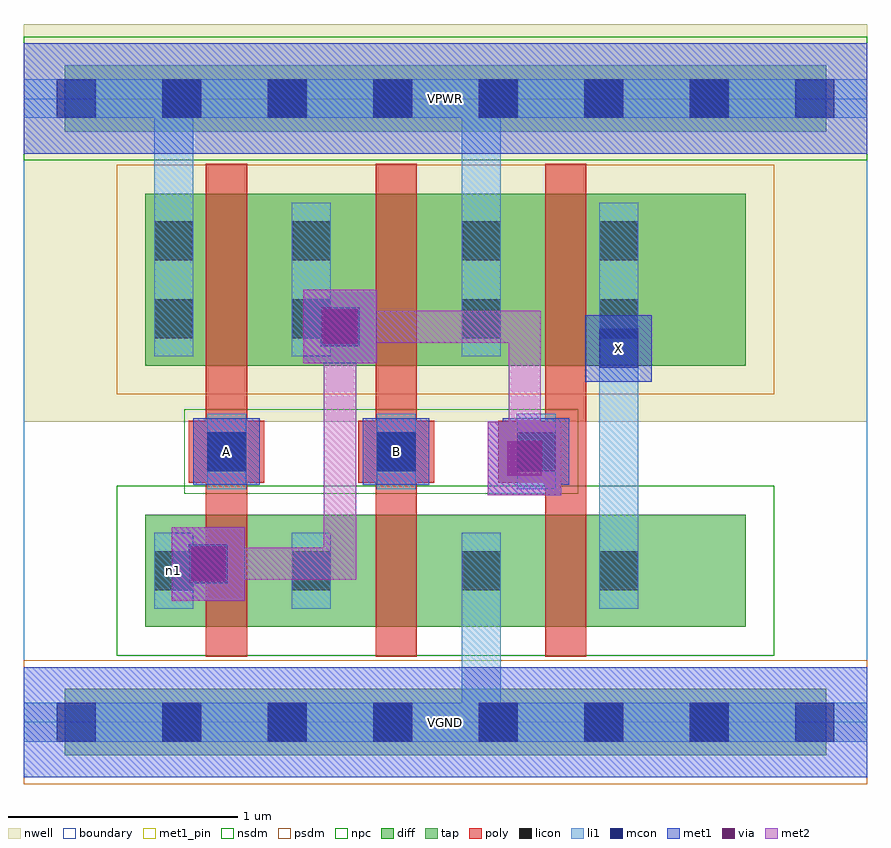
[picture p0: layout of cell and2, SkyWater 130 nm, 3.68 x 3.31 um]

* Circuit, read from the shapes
.subckt and2 A B VGND VPWR X n1
XM1 n2 A n1 VGND sky130_fd_pr__nfet_01v8 w=0.49 l=0.18
XM2 VGND B n2 VGND sky130_fd_pr__nfet_01v8 w=0.49 l=0.18
XM3 X n1 VGND VGND sky130_fd_pr__nfet_01v8 w=0.49 l=0.18
XM4 n1 A VPWR VPWR sky130_fd_pr__pfet_01v8 w=0.75 l=0.18
XM5 VPWR B n1 VPWR sky130_fd_pr__pfet_01v8 w=0.75 l=0.18
XM6 X n1 VPWR VPWR sky130_fd_pr__pfet_01v8 w=0.75 l=0.18
.ends

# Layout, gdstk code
import gdstk
lib = gdstk.Library(unit=1e-6, precision=1e-09)
def R(c, l, rs):  # rectangles x0, y0, x1, y1
    for r in rs: c.add(gdstk.rectangle(r[:2], r[2:], *l))
def A(c, l, x, y, w, h, nx, ny, dx, dy):  # array of equal rectangles
    R(c, l, [(x+i*dx, y+j*dy, x+i*dx+w, y+j*dy+h) for i in range(nx) for j in range(ny)])
nwell = (64, 20)
diff = (65, 20)
tap = (65, 44)
poly = (66, 20)
licon = (66, 44)
li1 = (67, 20)
mcon = (67, 44)
met1_pin = (68, 16)
met1 = (68, 20)
via = (68, 44)
met2 = (69, 20)
nsdm = (93, 44)
psdm = (94, 20)
npc = (95, 20)
boundary = (235, 4)

and2 = lib.new_cell('and2')
R(and2, nwell, [(0,1.31,3.68,3.045)])
R(and2, diff, [(0.53,0.415,3.15,0.905), (0.53,1.555,3.15,2.305)])
R(and2, tap, [(0.18,-0.145,3.5,0.145), (0.18,2.575,3.5,2.865)])
A(and2, poly, 0.795, 0.285, 0.18, 2.15, 3, 1, 0.74, 0)
R(and2, poly, [(0.72,1.045,1.05,1.315), (1.46,1.045,1.79,1.315), (2.07,1.045,2.4,1.315)])
A(and2, licon, 0.605, -0.085, 0.17, 0.17, 6, 2, 0.46, 2.72)
R(and2, licon, [(0.57,0.575,0.74,0.745), (1.17,0.575,1.34,0.745), (1.91,0.575,2.08,0.745), (2.51,0.575,2.68,0.745), (0.8,1.095,0.97,1.265), (1.54,1.095,1.71,1.265), (2.15,1.095,2.32,1.265), (0.57,1.675,0.74,1.845), (1.17,1.675,1.34,1.845), (1.91,1.675,2.08,1.845), (2.51,1.675,2.68,1.845), (0.57,2.015,0.74,2.185), (1.17,2.015,1.34,2.185), (1.91,2.015,2.08,2.185), (2.51,2.015,2.68,2.185)])
R(and2, li1, [(0,-0.085,3.68,0.085), (1.91,-0.085,2.08,0.825), (0.57,0.495,0.74,0.825), (1.17,0.495,1.34,0.825), (1.91,0.495,2.08,0.825), (2.51,0.495,2.68,0.825), (2.51,0.495,2.68,2.265), (0.57,0.605,0.89,0.775), (0.8,1.015,0.97,1.345), (1.54,1.015,1.71,1.345), (2.15,1.015,2.32,1.345), (0.57,1.595,0.74,2.265), (0.57,1.595,0.74,2.805), (1.17,1.595,1.34,2.265), (1.91,1.595,2.08,2.265), (1.91,1.595,2.08,2.805), (2.51,1.595,2.68,2.265), (1.17,1.64,1.465,1.81), (0,2.635,3.68,2.805)])
A(and2, mcon, 0.145, -0.085, 0.17, 0.17, 8, 2, 0.46, 2.72)
R(and2, mcon, [(0.72,0.605,0.89,0.775), (0.8,1.095,0.97,1.265), (1.54,1.095,1.71,1.265), (2.15,1.095,2.32,1.265), (2.51,1.545,2.68,1.715), (1.295,1.64,1.465,1.81)])
R(and2, met1_pin, [(0,-0.24,3.68,0.24), (0.74,1.035,1.03,1.325), (1.48,1.035,1.77,1.325), (2.45,1.485,2.74,1.775), (0,2.48,3.68,2.96)])
R(and2, met1, [(0,-0.24,3.68,0.24), (0.645,0.53,0.965,0.85), (0.66,0.545,0.95,0.835), (2.025,0.99,2.345,1.31), (0.74,1.035,1.03,1.325), (1.48,1.035,1.77,1.325), (2.09,1.035,2.38,1.325), (2.45,1.485,2.74,1.775), (1.22,1.565,1.54,1.885), (1.235,1.58,1.525,1.87), (0,2.48,3.68,2.96)])
R(and2, via, [(0.73,0.615,0.88,0.765), (2.11,1.075,2.26,1.225), (1.305,1.65,1.455,1.8)])
R(and2, met2, [(0.645,0.53,0.965,0.85), (0.735,0.62,1.45,0.76), (1.31,0.62,1.45,1.795), (2.025,0.99,2.345,1.31), (2.115,1.08,2.255,1.795), (1.22,1.565,1.54,1.885), (1.31,1.655,2.255,1.795)])
R(and2, nsdm, [(0.405,0.29,3.275,1.03), (0,2.45,3.68,2.99)])
R(and2, psdm, [(0,-0.27,3.68,0.27), (0.405,1.43,3.275,2.43)])
R(and2, npc, [(0.7,0.995,2.42,1.365)])
R(and2, boundary, [(0,0,3.68,2.72)])
and2.add(gdstk.Label('n1', (0.655,0.66), layer=67, texttype=5))
and2.add(gdstk.Label('X', (2.595,1.63), layer=68, texttype=5))
and2.add(gdstk.Label('A', (0.885,1.18), layer=68, texttype=5))
and2.add(gdstk.Label('B', (1.625,1.18), layer=68, texttype=5))
and2.add(gdstk.Label('VPWR', (1.84,2.72), layer=68, texttype=5))
and2.add(gdstk.Label('VGND', (1.84,0), layer=68, texttype=5))
and2.add(gdstk.Label('X', (2.595,1.63), layer=68, texttype=16))
and2.add(gdstk.Label('A', (0.885,1.18), layer=68, texttype=16))
and2.add(gdstk.Label('B', (1.625,1.18), layer=68, texttype=16))
and2.add(gdstk.Label('VPWR', (1.84,2.72), layer=68, texttype=16))
and2.add(gdstk.Label('VGND', (1.84,0), layer=68, texttype=16))

lib.write_gds('and2.gds')
